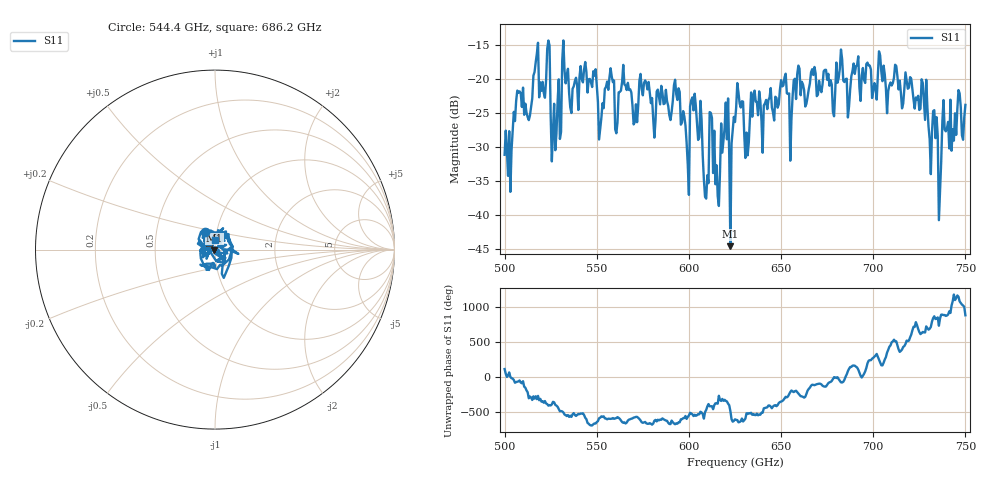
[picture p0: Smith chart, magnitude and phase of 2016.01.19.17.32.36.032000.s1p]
!Created with skrf (http://scikit-rf.org).
# GHz S RI R 50.0
!freq ReS11 ImS11
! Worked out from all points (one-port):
!   401 points, 500 GHz to 750 GHz, reference 50 ohm
!   lowest |S11| = -44.5 dB at 622.5 GHz (marker M1), VSWR 1.01, Z = 49.7 - j0.486 ohm
!   |S11| at or under -10 dB: start of sweep to end of sweep
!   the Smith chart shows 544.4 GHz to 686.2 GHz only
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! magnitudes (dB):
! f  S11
! 500 GHz  -31.1
! 503.1 GHz  -36.6
! 507.5 GHz  -22.0
! 513.8 GHz  -25.3
! 516.9 GHz  -17.5
! 523.8 GHz  -14.3
! 526.9 GHz  -23.6
! 531.2 GHz  -17.3
! 562.5 GHz  -21.9
! 593.8 GHz  -23.1
! 598.8 GHz  -29.4
! 602.5 GHz  -24.6
! 609.4 GHz  -37.6
! 612.5 GHz  -25.7
! 615.6 GHz  -37.2
! 620 GHz  -23.4
! 622.5 GHz  -44.5
! 625 GHz  -26.3
! 631.2 GHz  -27.9
! 635 GHz  -22.5
! 656.2 GHz  -22.5
! 667.5 GHz  -19.4
! 687.5 GHz  -21.5
! 718.8 GHz  -21.4
! 733.8 GHz  -28.7
! 736.2 GHz  -36.2
! 738.8 GHz  -27.4
! 750 GHz  -23.8
